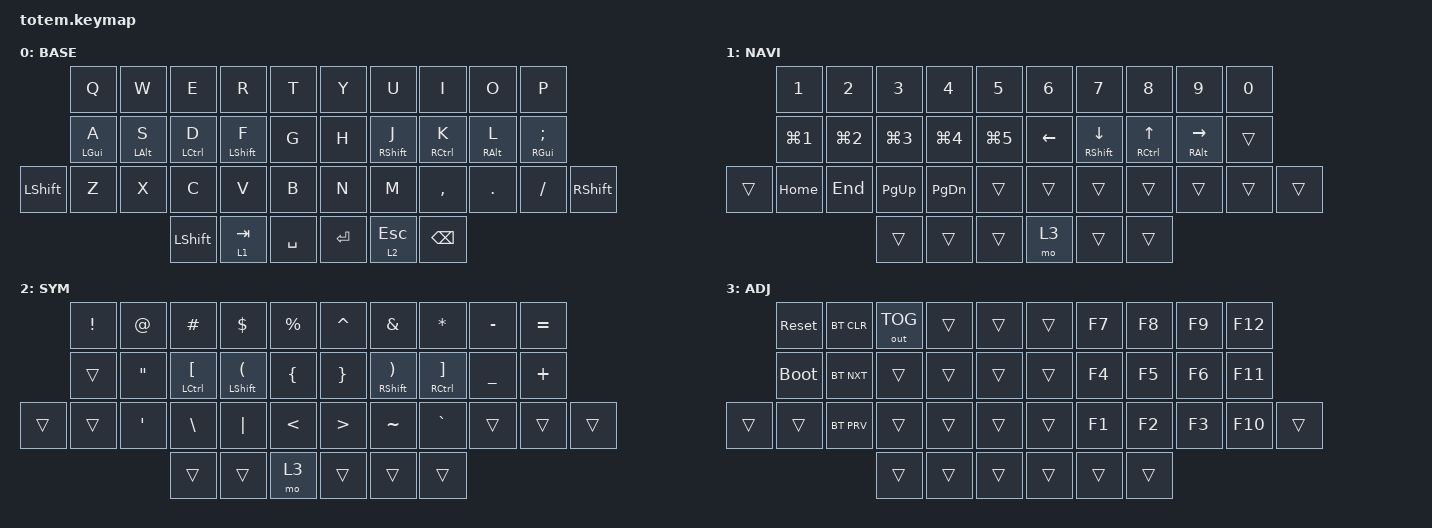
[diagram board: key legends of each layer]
//
//                                                        ▀▀▀▀▀     ▀▀▀▀▀          ▀▀█▀▀
//                                                        ▄▀▀▀▄  ▄  ▄▀▀▀▄  ▄  ▄▀▀▀▄  █  ▄▀▀▀▄
//                                                        █   █  █  █   █  █  █   █  █  █   █
//                                                         ▀▀▀   █   ▀▀▀   █   ▀▀▀   ▀   ▀▀▀
//                                                               █      ▄▄▄█▄▄▄    █   █  
//                                                               ▀      █  █  █     █▄█
//                                                             ▀▀▀▀▀    █  █  █      ▀
//                                                                      ▀  ▀  ▀
//
// ▄▄▄▄▄▄▄▄▄▄▄▄▄▄▄▄▄▄▄▄▄▄▄▄▄▄▄▄▄▄▄▄▄▄▄▄▄▄▄▄▄▄▄▄▄▄▄▄▄▄▄▄▄▄▄▄▄▄▄▄▄▄▄▄▄▄▄▄▄▄▄▄▄▄▄▄▄▄▄▄▄▄▄▄▄▄▄▄▄▄▄▄▄▄▄▄▄▄▄▄▄▄▄▄▄▄▄▄▄▄▄▄▄▄▄▄▄▄▄▄▄▄▄▄▄▄▄▄▄▄▄▄▄▄▄▄▄▄▄▄▄▄▄▄▄▄▄▄▄

#include <behaviors.dtsi>
#include <dt-bindings/zmk/bt.h>
#include <dt-bindings/zmk/keys.h>
#include <dt-bindings/zmk/outputs.h>

#define BASE 0
#define NAV  1
#define SYM  2
#define ADJ  3
#define TVP1 4
#define TVP2 5

&mt {
    quick-tap-ms = <175>;
    flavor = "tap-preferred";
    tapping-term-ms = <175>;
};

&lt { quick-tap-ms = <200>; };

/ {
    combos {
        compatible = "zmk,combos";

        combo_esc {
            timeout-ms = <50>;
            key-positions = <16 17>;
            bindings = <&kp ESC>;
        };
    };

    keymap {
        compatible = "zmk,keymap";

        // ▄▄▄▄▄▄▄▄▄▄▄▄▄▄▄▄▄▄▄▄▄▄▄▄▄▄▄▄▄▄▄▄▄▄▄▄▄▄▄▄▄▄▄▄▄▄▄▄▄▄▄▄▄▄▄▄▄▄▄▄▄▄▄▄▄▄▄▄▄▄▄▄▄▄▄▄▄▄▄▄▄▄▄▄▄▄▄▄▄▄▄▄▄▄▄▄▄▄▄▄▄▄▄▄▄▄▄▄▄▄▄▄▄▄▄▄▄▄▄▄▄▄▄▄▄▄▄▄▄▄▄▄▄▄▄▄▄▄▄▄▄▄▄▄▄▄▄▄▄

        base_layer {
            // ┏━━━━━━━━━━━━━━━━━━━━━━━━━━━━━━━━━━━━━━━┓

            label = "BASE";

            // ┗━━━━━━━━━━━━━━━━━━━━━━━━━━━━━━━━━━━━━━━┛
            //             ┏━━━━━━━━━━━┳━━━━━━━━━━━┳━━━━━━━━━━━┳━━━━━━━━━━━┳━━━━━━━━━━━┓   ┏━━━━━━━━━━━┳━━━━━━━━━━━┳━━━━━━━━━━━┳━━━━━━━━━━━┳━━━━━━━━━━━┓
            //             ┃     Q     ┃     W     ┃     F     ┃     P     ┃     G     ┃   ┃     J     ┃     L     ┃     U     ┃     Y     ┃     ;     ┃
            //             ┣━━━━━━━━━━━╋━━━━━━━━━━━╋━━━━━━━━━━━╋━━━━━━━━━━━╋━━━━━━━━━━━┫   ┣━━━━━━━━━━━╋━━━━━━━━━━━╋━━━━━━━━━━━╋━━━━━━━━━━━╋━━━━━━━━━━━┫
            //             ┃     A     ┃     R     ┃     S     ┃     T     ┃     D     ┃   ┃     H     ┃     N     ┃     E     ┃     I     ┃     O     ┃
            // ┏━━━━━━━━━━━╋━━━━━━━━━━━╋━━━━━━━━━━━╋━━━━━━━━━━━╋━━━━━━━━━━━╋━━━━━━━━━━━┫   ┣━━━━━━━━━━━╋━━━━━━━━━━━╋━━━━━━━━━━━╋━━━━━━━━━━━╋━━━━━━━━━━━╋━━━━━━━━━━━┓
            // ┃     Q     ┃     Z     ┃     X     ┃     C     ┃     V     ┃     B     ┃   ┃     K     ┃     M     ┃     ,     ┃     .     ┃     /     ┃     \     ┃
            // ┗━━━━━━━━━━━┻━━━━━━━━━━━┻━━━━━━━━━━━╋━━━━━━━━━━━╋━━━━━━━━━━━╋━━━━━━━━━━━┫   ┣━━━━━━━━━━━╋━━━━━━━━━━━╋━━━━━━━━━━━╋━━━━━━━━━━━┻━━━━━━━━━━━┻━━━━━━━━━━━┛
            //                                     ┃    DEL    ┃    TAB    ┃    SPC    ┃   ┃   ENTER   ┃           ┃   BSPC    ┃
            //                                     ┗━━━━━━━━━━━┻━━━━━━━━━━━┻━━━━━━━━━━━┛   ┗━━━━━━━━━━━┻━━━━━━━━━━━┻━━━━━━━━━━━┛

            bindings = <
                &kp Q       &kp W       &kp E           &kp R             &kp T        &kp Y    &kp U        &kp I        &kp O       &kp P
                &mt LGUI A  &mt LALT S  &mt LCTRL D     &mt LEFT_SHIFT F  &kp G        &kp H    &mt RSHFT J  &mt RCTRL K  &mt RALT L  &mt RGUI SEMICOLON
&kp LEFT_SHIFT  &kp Z       &kp X       &kp C           &kp V             &kp B        &kp N    &kp M        &kp COMMA    &kp DOT     &kp FSLH            &kp RIGHT_SHIFT
                                        &kp LEFT_SHIFT  &lt 1 TAB         &kp SPACE    &kp RET  &lt 2 ESC    &kp BSPC
            >;
        };

        // ▄▄▄▄▄▄▄▄▄▄▄▄▄▄▄▄▄▄▄▄▄▄▄▄▄▄▄▄▄▄▄▄▄▄▄▄▄▄▄▄▄▄▄▄▄▄▄▄▄▄▄▄▄▄▄▄▄▄▄▄▄▄▄▄▄▄▄▄▄▄▄▄▄▄▄▄▄▄▄▄▄▄▄▄▄▄▄▄▄▄▄▄▄▄▄▄▄▄▄▄▄▄▄▄▄▄▄▄▄▄▄▄▄▄▄▄▄▄▄▄▄▄▄▄▄▄▄▄▄▄▄▄▄▄▄▄▄▄▄▄▄▄▄▄▄▄▄▄▄

        nav_layer {
            // ┏━━━━━━━━━━━━━━━━━━━━━━━━━━━━━━━━━━━━━━━┓

            label = "NAVI";

            // ┗━━━━━━━━━━━━━━━━━━━━━━━━━━━━━━━━━━━━━━━┛
            //             ┏━━━━━━━━━━━┳━━━━━━━━━━━┳━━━━━━━━━━━┳━━━━━━━━━━━┳━━━━━━━━━━━┓   ┏━━━━━━━━━━━┳━━━━━━━━━━━┳━━━━━━━━━━━┳━━━━━━━━━━━┳━━━━━━━━━━━┓
            //             ┃           ┃           ┃     UP    ┃           ┃     {     ┃   ┃     }     ┃     7     ┃     8     ┃     9     ┃     +     ┃
            //             ┣━━━━━━━━━━━╋━━━━━━━━━━━╋━━━━━━━━━━━╋━━━━━━━━━━━╋━━━━━━━━━━━┫   ┣━━━━━━━━━━━╋━━━━━━━━━━━╋━━━━━━━━━━━╋━━━━━━━━━━━╋━━━━━━━━━━━┫
            //             ┃   SHIFT   ┃   LEFT    ┃    DOWN   ┃   RIGHT   ┃     [     ┃   ┃     ]     ┃     4     ┃     5     ┃     6     ┃     -     ┃
            // ┏━━━━━━━━━━━╋━━━━━━━━━━━╋━━━━━━━━━━━╋━━━━━━━━━━━╋━━━━━━━━━━━╋━━━━━━━━━━━┫   ┣━━━━━━━━━━━╋━━━━━━━━━━━╋━━━━━━━━━━━╋━━━━━━━━━━━╋━━━━━━━━━━━╋━━━━━━━━━━━┓
            // ┃           ┃           ┃   P UP    ┃  C LOCK   ┃  P DOWN   ┃     (     ┃   ┃     )     ┃     1     ┃     2     ┃     3     ┃     *     ┃           ┃
            // ┗━━━━━━━━━━━┻━━━━━━━━━━━┻━━━━━━━━━━━╋━━━━━━━━━━━╋━━━━━━━━━━━╋━━━━━━━━━━━┫   ┣━━━━━━━━━━━╋━━━━━━━━━━━╋━━━━━━━━━━━╋━━━━━━━━━━━┻━━━━━━━━━━━┻━━━━━━━━━━━┛
            //                                     ┃           ┃    TAB    ┃    SPC    ┃   ┃    DEL    ┃     0     ┃           ┃
            //                                     ┗━━━━━━━━━━━┻━━━━━━━━━━━┻━━━━━━━━━━━┛   ┗━━━━━━━━━━━┻━━━━━━━━━━━┻━━━━━━━━━━━┛

            bindings = <
        &kp NUMBER_1      &kp NUMBER_2      &kp NUMBER_3      &kp NUMBER_4      &kp N5        &kp NUMBER_6  &kp N7                &kp N8              &kp N9               &kp N0
        &kp LG(NUMBER_1)  &kp LG(NUMBER_2)  &kp LG(NUMBER_3)  &kp LG(NUMBER_4)  &kp LG(N5)    &kp LEFT      &mt RIGHT_SHIFT DOWN  &mt RCTRL UP_ARROW  &mt RIGHT_ALT RIGHT  &trans
&trans  &kp HOME          &kp END           &kp PG_UP         &kp PG_DN         &trans        &trans        &trans                &trans              &trans               &trans  &trans
                                            &trans            &trans            &trans        &mo 3         &trans                &trans
            >;
        };

        // ▄▄▄▄▄▄▄▄▄▄▄▄▄▄▄▄▄▄▄▄▄▄▄▄▄▄▄▄▄▄▄▄▄▄▄▄▄▄▄▄▄▄▄▄▄▄▄▄▄▄▄▄▄▄▄▄▄▄▄▄▄▄▄▄▄▄▄▄▄▄▄▄▄▄▄▄▄▄▄▄▄▄▄▄▄▄▄▄▄▄▄▄▄▄▄▄▄▄▄▄▄▄▄▄▄▄▄▄▄▄▄▄▄▄▄▄▄▄▄▄▄▄▄▄▄▄▄▄▄▄▄▄▄▄▄▄▄▄▄▄▄▄▄▄▄▄▄▄▄

        sim_layer {
            // ┏━━━━━━━━━━━━━━━━━━━━━━━━━━━━━━━━━━━━━━━┓

            label = "SYM";

            // ┗━━━━━━━━━━━━━━━━━━━━━━━━━━━━━━━━━━━━━━━┛
            //             ┏━━━━━━━━━━━┳━━━━━━━━━━━┳━━━━━━━━━━━┳━━━━━━━━━━━┳━━━━━━━━━━━┓   ┏━━━━━━━━━━━┳━━━━━━━━━━━┳━━━━━━━━━━━┳━━━━━━━━━━━┳━━━━━━━━━━━┓
            //             ┃     !     ┃     @     ┃     #     ┃     $     ┃     %     ┃   ┃     ˆ     ┃     &     ┃     Ü     ┃     '     ┃     "     ┃
            //             ┣━━━━━━━━━━━╋━━━━━━━━━━━╋━━━━━━━━━━━╋━━━━━━━━━━━╋━━━━━━━━━━━┫   ┣━━━━━━━━━━━╋━━━━━━━━━━━╋━━━━━━━━━━━╋━━━━━━━━━━━╋━━━━━━━━━━━┫
            //             ┃     Ä     ┃           ┃    SZ     ┃           ┃           ┃   ┃   MUTE    ┃   YEN     ┃   EURO    ┃  POUND    ┃     Ö     ┃
            // ┏━━━━━━━━━━━╋━━━━━━━━━━━╋━━━━━━━━━━━╋━━━━━━━━━━━╋━━━━━━━━━━━╋━━━━━━━━━━━┫   ┣━━━━━━━━━━━╋━━━━━━━━━━━╋━━━━━━━━━━━╋━━━━━━━━━━━╋━━━━━━━━━━━╋━━━━━━━━━━━┓
            // ┃           ┃  EMAIL1   ┃  EMAIL2   ┃           ┃           ┃           ┃   ┃   VOL-    ┃   VOL+    ┃   LAST    ┃   NEXT    ┃     \     ┃           ┃
            // ┗━━━━━━━━━━━┻━━━━━━━━━━━┻━━━━━━━━━━━╋━━━━━━━━━━━╋━━━━━━━━━━━╋━━━━━━━━━━━┫   ┣━━━━━━━━━━━╋━━━━━━━━━━━╋━━━━━━━━━━━╋━━━━━━━━━━━┻━━━━━━━━━━━┻━━━━━━━━━━━┛
            //                                     ┃           ┃    GIF    ┃    ADJ    ┃   ┃           ┃           ┃           ┃
            //                                     ┗━━━━━━━━━━━┻━━━━━━━━━━━┻━━━━━━━━━━━┛   ┗━━━━━━━━━━━┻━━━━━━━━━━━┻━━━━━━━━━━━┛

            bindings = <
        &kp EXCL  &kp AT             &kp HASH                &kp DLLR                         &kp PRCNT         &kp CARET         &kp AMPS                           &kp ASTRK                &kp MINUS  &kp EQUAL
        &trans    &kp DOUBLE_QUOTES  &mt LCTRL LEFT_BRACKET  &mt LEFT_SHIFT LEFT_PARENTHESIS  &kp LEFT_BRACE    &kp RIGHT_BRACE   &mt RIGHT_SHIFT RIGHT_PARENTHESIS  &mt RCTRL RIGHT_BRACKET  &kp UNDER  &kp PLUS
&trans  &trans    &kp SINGLE_QUOTE   &kp BACKSLASH           &kp PIPE                         &kp LT            &kp GREATER_THAN  &kp TILDE                          &kp GRAVE                &trans     &trans     &trans
                                     &trans                  &trans                           &mo 3             &trans            &trans                             &trans
            >;
        };

        // ▄▄▄▄▄▄▄▄▄▄▄▄▄▄▄▄▄▄▄▄▄▄▄▄▄▄▄▄▄▄▄▄▄▄▄▄▄▄▄▄▄▄▄▄▄▄▄▄▄▄▄▄▄▄▄▄▄▄▄▄▄▄▄▄▄▄▄▄▄▄▄▄▄▄▄▄▄▄▄▄▄▄▄▄▄▄▄▄▄▄▄▄▄▄▄▄▄▄▄▄▄▄▄▄▄▄▄▄▄▄▄▄▄▄▄▄▄▄▄▄▄▄▄▄▄▄▄▄▄▄▄▄▄▄▄▄▄▄▄▄▄▄▄▄▄▄▄▄▄

        adjust_layer {
            // ┏━━━━━━━━━━━━━━━━━━━━━━━━━━━━━━━━━━━━━━━┓

            label = "ADJ";

            // ┗━━━━━━━━━━━━━━━━━━━━━━━━━━━━━━━━━━━━━━━┛
            //             ┏━━━━━━━━━━━┳━━━━━━━━━━━┳━━━━━━━━━━━┳━━━━━━━━━━━┳━━━━━━━━━━━┓   ┏━━━━━━━━━━━┳━━━━━━━━━━━┳━━━━━━━━━━━┳━━━━━━━━━━━┳━━━━━━━━━━━┓
            //             ┃   RESET   ┃ BT CLEAR  ┃  OUT TOG  ┃           ┃           ┃   ┃           ┃    F7     ┃    F8     ┃    F9     ┃    F12    ┃
            //             ┣━━━━━━━━━━━╋━━━━━━━━━━━╋━━━━━━━━━━━╋━━━━━━━━━━━╋━━━━━━━━━━━┫   ┣━━━━━━━━━━━╋━━━━━━━━━━━╋━━━━━━━━━━━╋━━━━━━━━━━━╋━━━━━━━━━━━┫
            //             ┃ BOOTLOAD  ┃ BT NEXT   ┃           ┃           ┃           ┃   ┃           ┃    F4     ┃    F5     ┃    F6     ┃    F11    ┃
            // ┏━━━━━━━━━━━╋━━━━━━━━━━━╋━━━━━━━━━━━╋━━━━━━━━━━━╋━━━━━━━━━━━╋━━━━━━━━━━━┫   ┣━━━━━━━━━━━╋━━━━━━━━━━━╋━━━━━━━━━━━╋━━━━━━━━━━━╋━━━━━━━━━━━╋━━━━━━━━━━━┓
            // ┃           ┃           ┃ BT PREV   ┃           ┃           ┃           ┃   ┃           ┃    F1     ┃    F2     ┃    F3     ┃    F10    ┃           ┃
            // ┗━━━━━━━━━━━┻━━━━━━━━━━━┻━━━━━━━━━━━╋━━━━━━━━━━━╋━━━━━━━━━━━╋━━━━━━━━━━━┫   ┣━━━━━━━━━━━╋━━━━━━━━━━━╋━━━━━━━━━━━╋━━━━━━━━━━━┻━━━━━━━━━━━┻━━━━━━━━━━━┛
            //                                     ┃           ┃           ┃           ┃   ┃           ┃           ┃           ┃
            //                                     ┗━━━━━━━━━━━┻━━━━━━━━━━━┻━━━━━━━━━━━┛   ┗━━━━━━━━━━━┻━━━━━━━━━━━┻━━━━━━━━━━━┛

            bindings = <
        &sys_reset   &bt BT_CLR  &out OUT_TOG  &trans  &trans    &trans  &kp F7  &kp F8  &kp F9  &kp F12
        &bootloader  &bt BT_NXT  &trans        &trans  &trans    &trans  &kp F4  &kp F5  &kp F6  &kp F11
&trans  &trans       &bt BT_PRV  &trans        &trans  &trans    &trans  &kp F1  &kp F2  &kp F3  &kp F10  &trans
                                 &trans        &trans  &trans    &trans  &trans  &trans
            >;
        };

        // ▄▄▄▄▄▄▄▄▄▄▄▄▄▄▄▄▄▄▄▄▄▄▄▄▄▄▄▄▄▄▄▄▄▄▄▄▄▄▄▄▄▄▄▄▄▄▄▄▄▄▄▄▄▄▄▄▄▄▄▄▄▄▄▄▄▄▄▄▄▄▄▄▄▄▄▄▄▄▄▄▄▄▄▄▄▄▄▄▄▄▄▄▄▄▄▄▄▄▄▄▄▄▄▄▄▄▄▄▄▄▄▄▄▄▄▄▄▄▄▄▄▄▄▄▄▄▄▄▄▄▄▄▄▄▄▄▄▄▄▄▄▄▄▄▄▄▄▄▄
        // ▄▄▄▄▄▄▄▄▄▄▄▄▄▄▄▄▄▄▄▄▄▄▄▄▄▄▄▄▄▄▄▄▄▄▄▄▄▄▄▄▄▄▄▄▄▄▄▄▄▄▄▄▄▄▄▄▄▄▄▄▄▄▄▄▄▄▄▄▄▄▄▄▄▄▄▄▄▄▄▄▄▄▄▄▄▄▄▄▄▄▄▄▄▄▄▄▄▄▄▄▄▄▄▄▄▄▄▄▄▄▄▄▄▄▄▄▄▄▄▄▄▄▄▄▄▄▄▄▄▄▄▄▄▄▄▄▄▄▄▄▄▄▄▄▄▄▄▄▄
    };
};
